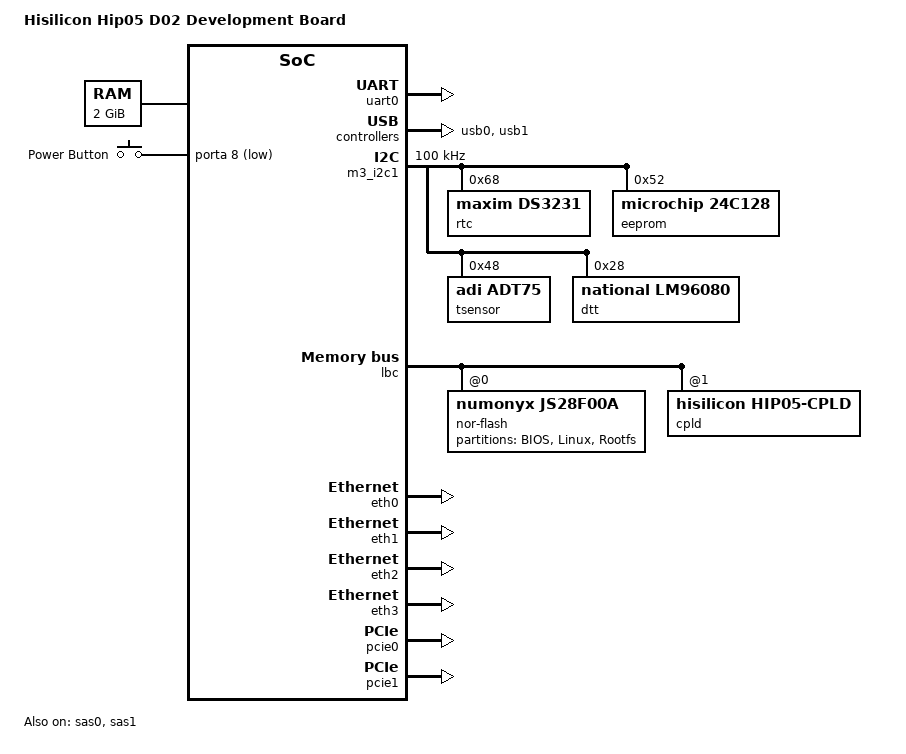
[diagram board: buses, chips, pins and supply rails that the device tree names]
/**
 * dts file for Hisilicon D02 Development Board
 *
 * Copyright (C) 2014,2015 Hisilicon Ltd.
 *
 * This program is free software; you can redistribute it and/or modify
 * it under the terms of the GNU General Public License version 2 as
 * publishhed by the Free Software Foundation.
 *
 */

/dts-v1/;

#include <dt-bindings/gpio/gpio.h>
#include "hip05.dtsi"

/ {
	model = "Hisilicon Hip05 D02 Development Board";
	compatible = "hisilicon,hip05-d02";

	memory@00000000 {
		device_type = "memory";
		reg = <0x0 0x00000000 0x0 0x80000000>;
	};

	aliases {
		serial0 = &uart0;
	};

	chosen {
		stdout-path = "serial0:115200n8";
	};

	gpio_keys {
		compatible = "gpio-keys";
		#address-cells = <1>;
		#size-cells = <0>;

		pwrbutton {
			label = "Power Button";
			gpios = <&porta 8 GPIO_ACTIVE_LOW>;
			linux,code = <116>;
			debounce-interval = <0>;
		};
	};
};

&uart0 {
	status = "ok";
};

&usb0 {
	status = "ok";
};

&usb1 {
	status = "ok";
};

&m3_i2c1 {
	clock-frequency = <100000>;
	status = "ok";

	rtc: ds3231@68 {
		compatible = "maxim,ds3231";
		reg = <0x68>;
	};

	eeprom: at24c128@52 {
		compatible = "microchip,24c128";
		reg = <0x52>;
		pagesize = <64>;
	};

	tsensor: adt75@48 {
		compatible = "adi,adt75";
		reg = <0x48>;
	};

	dtt: lm96080@28 {
		compatible = "national,lm96080";
		reg = <0x28>;
	};
};

&peri_gpio0 {
	status = "ok";
};

&lbc {
	status = "ok";
	#address-cells = <2>;
	#size-cells = <1>;
	ranges = <0 0 0x0 0x90000000 0x08000000>,
		 <1 0 0x0 0x98000000 0x08000000>;

	nor-flash@0,0 {
		#address-cells = <1>;
		#size-cells = <1>;
		compatible = "numonyx,js28f00a", "cfi-flash";
		reg = <0 0x0 0x08000000>;
		bank-width = <2>;
		/* The three parts may not used */
		partition@0 {
			label = "BIOS";
			reg = <0x0 0x300000>;
		};
		partition@300000 {
			label = "Linux";
			reg = <0x300000 0xa00000>;
		};
		partition@1000000 {
			label = "Rootfs";
			reg = <0x01000000 0x02000000>;
		};
	};

	cpld@1,0 {
		compatible = "hisilicon,hip05-cpld";
		reg = <1 0x0 0x100>;
	};
};

&eth0 {
	status = "ok";
};

&eth1 {
	status = "ok";
};

&eth2 {
	status = "ok";
};

&eth3 {
	status = "ok";
};

&sas0 {
	status = "ok";
};

&sas1 {
	status = "ok";
};

&pcie0 {
	status = "ok";
};

&pcie1 {
	status = "ok";
};
